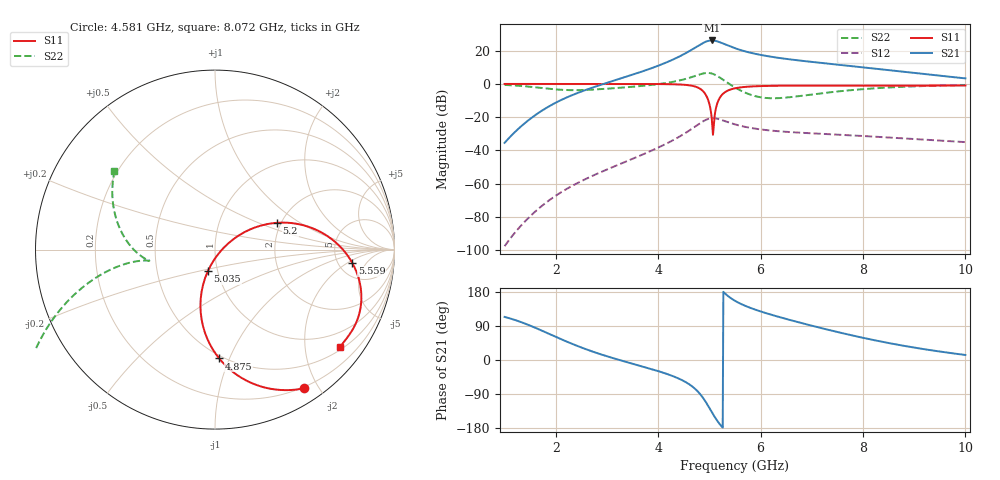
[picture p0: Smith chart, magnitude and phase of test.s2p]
!2-port S-parameter file
!Title: ** sch_path: /home/andylithia/openmpw/project-yatsuhashi-chip1/xschem/2stack_2_sp.sch
!Generated by ngspice at Wed Aug  3 21:06:37  2022
# Hz S RI R 50
!freq  ReS11  ImS11  ReS21  ImS21  ReS12  ImS12  ReS22  ImS22
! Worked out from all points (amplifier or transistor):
!   1001 points, 1 GHz to 10 GHz, reference 50 ohm
!   highest |S21| = 26.1 dB at 5.047 GHz (marker M1)
!   |S21| within 3 dB of that: 4.791 GHz to 5.357 GHz (566.2 MHz wide, 11.2 % of centre)
!   unconditionally stable (mu >= 1): start of sweep to 1.163 GHz
!   at 1.466 GHz: K = 0.62, MSG = 29.4 dB, |S12| = -80.6 dB
!   at 3.162 GHz: K = 0.23, MSG = 25.8 dB, |S12| = -49.3 dB
!   at 10 GHz: K = 0.23, MSG = 19.2 dB, |S12| = -35.0 dB
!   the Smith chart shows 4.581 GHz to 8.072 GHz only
!   S11 on the Smith chart (normalised r, x): 4.581 GHz: 0.18, -1.82; 4.875 GHz: 0.48, -0.92; 5.035 GHz: 0.90, -0.22; 5.2 GHz: 1.90, +0.66; 5.559 GHz: 6.73, -2.45; 8.072 GHz: 0.57, -2.81
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1e9  0.992 -0.1262  -0.00679 0.0155  1.12e-05 6.95e-06  0.3982 -0.8457
2.500345e9  0.9455 -0.3254  0.4965 0.3216  0.000916 -0.000775  -0.3704 0.5383
3.419794e9  0.8804 -0.4714  1.72 -0.206  0.00131 -0.0048  0.5369 0.5973
4.008667e9  0.79 -0.599  3.103 -1.768  -0.000939 -0.0123  0.9606 0.2357
4.335109e9  0.6789 -0.6959  4.113 -4.138  -0.00691 -0.0211  1.187 -0.1289
4.581419e9  0.4979 -0.7725  4.319 -8.102  -0.0207 -0.0311  1.338 -0.6393
4.74242e9  0.2728 -0.7672  2.496 -12.68  -0.0419 -0.0354  1.287 -1.23
4.875285e9  0.0234 -0.6065  -2.925 -16.78  -0.0704 -0.0254  0.8561 -1.866
4.954502e9  -0.0747 -0.3889  -8.512 -17.24  -0.086 -0.00572  0.3006 -2.119
5.035006e9  -0.0403 -0.1212  -14.28 -14.38  -0.0899 0.0229  -0.3763 -2.046
5.046613e9  -0.0226 -0.0857  -14.95 -13.71  -0.0891 0.0271  -0.466 -2.004
5.116818e9  0.1321 0.0786  -17.55 -8.925  -0.0778 0.049  -0.8866 -1.637
5.19996e9  0.3454 0.1493  -17.65 -3.46  -0.0578 0.0634  -1.083 -1.131
5.333349e9  0.5939 0.0952  -14.72 2.036  -0.0298 0.0669  -0.9963 -0.5487
5.508077e9  0.743 -0.039  -10.68 4.846  -0.00864 0.0596  -0.739 -0.2115
5.559043e9  0.7649 -0.0743  -9.728 5.208  -0.00473 0.0572  -0.6751 -0.1643
5.794287e9  0.8102 -0.2028  -6.472 5.857  0.00685 0.0474  -0.4732 -0.0723
6.095369e9  0.8131 -0.3079  -3.927 5.807  0.0146 0.0385  -0.3745 -0.0612
7.014553e9  0.7565 -0.4624  -0.00311 4.571  0.0254 0.0205  -0.4822 0.0348
8.07235e9  0.6964 -0.5423  1.694 2.556  0.0265 0.0042  -0.5604 0.4363
8.51138e9  0.677 -0.5685  1.845 1.815  0.0245 -0.000655  -0.4976 0.6049
1e10  0.6141 -0.6545  1.429 0.3377  0.0156 -0.00852  -0.119 0.9148
